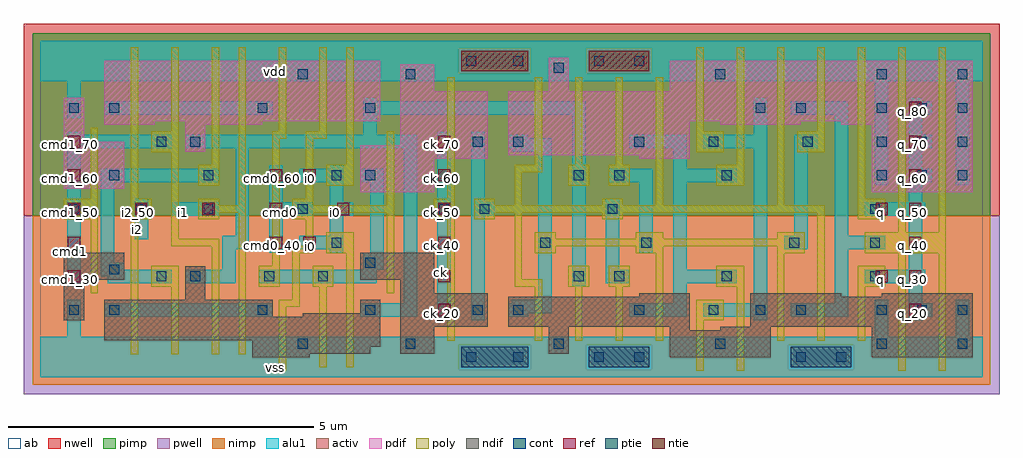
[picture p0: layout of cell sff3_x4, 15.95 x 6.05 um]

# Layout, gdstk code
import gdstk
lib = gdstk.Library(unit=1e-6, precision=2.5e-09)
def R(c, l, rs):  # rectangles x0, y0, x1, y1
    for r in rs: c.add(gdstk.rectangle(r[:2], r[2:], *l))
def A(c, l, x, y, w, h, nx, ny, dx, dy):  # array of equal rectangles
    R(c, l, [(x+i*dx, y+j*dy, x+i*dx+w, y+j*dy+h) for i in range(nx) for j in range(ny)])
ndif = (3, 0)
pdif = (4, 0)
ntie = (5, 0)
ptie = (6, 0)
ref = (24, 0)
cont = (25, 0)
pwell = (41, 0)
nwell = (42, 0)
activ = (43, 0)
pimp = (44, 0)
nimp = (45, 0)
poly = (46, 0)
alu1 = (49, 0)
ab = (63, 0)

sff3_x4 = lib.new_cell('sff3_x4')
R(sff3_x4, ndif, [(3.465,0.33,4.4,0.385), (10.285,0.33,11.935,0.77), (13.585,0.33,15.235,0.825), (3.465,0.385,5.39,0.495), (5.885,0.385,6.435,0.825), (8.305,0.385,8.635,0.825), (3.465,0.495,5.555,0.605), (1.045,0.605,5.555,0.99), (10.285,0.77,10.615,0.825), (11.11,0.77,11.935,0.825), (5.885,0.825,7.315,1.375), (7.645,0.825,10.615,1.32), (11.605,0.825,15.235,1.32), (0.385,0.935,0.715,1.595), (1.045,0.99,3.795,1.265), (4.29,0.99,5.555,1.045), (5.225,1.045,5.555,1.265), (2.365,1.265,2.695,1.815), (9.79,1.32,10.615,1.375), (11.605,1.32,13.09,1.375), (13.75,1.32,15.235,1.375), (5.885,1.375,6.435,1.595), (0.385,1.595,1.375,2.035), (5.225,1.595,6.435,2.035)])
R(sff3_x4, pdif, [(5.225,3.025,6.435,3.575), (13.585,3.025,15.235,4.125), (0.385,3.08,1.375,3.85), (5.225,3.575,7.315,3.795), (9.79,3.575,10.615,3.63), (7.645,3.63,10.615,4.18), (2.365,3.685,2.695,4.125), (5.885,3.795,7.315,4.675), (0.385,3.85,0.715,4.565), (1.045,4.125,1.87,4.18), (2.365,4.125,3.63,4.18), (11.11,4.125,12.43,4.18), (13.09,4.125,15.235,4.18), (1.045,4.18,5.555,5.17), (7.645,4.18,15.235,4.675), (5.885,4.675,6.435,5.115), (8.305,4.675,8.635,5.225), (10.285,4.675,15.235,5.17)])
R(sff3_x4, ntie, [(6.875,5.005,7.975,5.335), (8.965,5.005,9.955,5.335)])
R(sff3_x4, ptie, [(6.875,0.165,7.975,0.495), (8.965,0.165,9.955,0.495), (12.265,0.165,13.255,0.495)])
A(sff3_x4, ref, 6.5, 1, 0.2, 0.2, 1, 6, 0, 0.55)
A(sff3_x4, ref, 14.2, 1, 0.2, 0.2, 1, 7, 0, 0.55)
A(sff3_x4, ref, 0.45, 2.65, 0.2, 0.2, 5, 1, 1.1, 0)
R(sff3_x4, ref, [(0.45,1.55,0.65,1.75), (13.65,1.55,13.85,1.75), (0.45,2.1,0.65,2.3), (3.75,2.1,3.95,2.3), (4.3,2.1,4.5,2.3), (13.65,2.65,13.85,2.85), (0.45,3.2,0.65,3.4), (3.75,3.2,3.95,3.4), (4.3,3.2,4.5,3.4), (0.45,3.75,0.65,3.95)])
A(sff3_x4, cont, 4.21, 0.47, 0.16, 0.16, 1, 3, 0, 2.2)
A(sff3_x4, cont, 8.39, 0.47, 0.16, 0.16, 3, 1, 2.64, 0)
A(sff3_x4, cont, 3.55, 1.02, 0.16, 0.16, 3, 1, 1.76, 0)
A(sff3_x4, cont, 13.67, 1.02, 0.16, 0.16, 3, 2, 0.66, 2.2)
A(sff3_x4, cont, 13.56, 1.57, 0.16, 0.16, 1, 3, 0, 0.55)
A(sff3_x4, cont, 0.47, 2.67, 0.16, 0.16, 3, 1, 1.1, 0)
A(sff3_x4, cont, 13.67, 3.77, 0.16, 0.16, 3, 2, 0.66, 0.55)
R(sff3_x4, cont, [(6.96,0.25,7.12,0.41), (7.73,0.25,7.89,0.41), (9.05,0.25,9.21,0.41), (9.71,0.25,9.87,0.41), (12.35,0.25,12.51,0.41), (13.01,0.25,13.17,0.41), (5.97,0.47,6.13,0.63), (14.99,0.47,15.15,0.63), (0.47,1.02,0.63,1.18), (1.13,1.02,1.29,1.18), (7.73,1.02,7.89,1.18), (9.71,1.02,9.87,1.18), (10.92,1.02,11.08,1.18), (11.69,1.02,11.85,1.18), (12.35,1.02,12.51,1.18), (1.9,1.57,2.06,1.73), (2.45,1.57,2.61,1.73), (3.66,1.57,3.82,1.73), (4.54,1.57,4.7,1.73), (8.72,1.57,8.88,1.73), (9.38,1.57,9.54,1.73), (11.14,1.57,11.3,1.73), (1.13,1.68,1.29,1.84), (5.31,1.79,5.47,1.95), (4.76,2.12,4.92,2.28), (8.17,2.12,8.33,2.28), (9.82,2.12,9.98,2.28), (12.24,2.12,12.4,2.28), (6.52,2.67,6.68,2.83), (7.18,2.67,7.34,2.83), (9.27,2.67,9.43,2.83), (1.13,3.22,1.29,3.38), (2.67,3.22,2.83,3.38), (4.76,3.22,4.92,3.38), (5.31,3.22,5.47,3.38), (8.72,3.22,8.88,3.38), (9.38,3.22,9.54,3.38), (11.14,3.22,11.3,3.38), (1.9,3.77,2.06,3.93), (2.45,3.77,2.61,3.93), (7.07,3.77,7.23,3.93), (7.73,3.77,7.89,3.93), (9.71,3.77,9.87,3.93), (10.92,3.77,11.08,3.93), (12.46,3.77,12.62,3.93), (0.47,4.32,0.63,4.48), (1.13,4.32,1.29,4.48), (3.55,4.32,3.71,4.48), (5.31,4.32,5.47,4.48), (11.69,4.32,11.85,4.48), (12.35,4.32,12.51,4.48), (5.97,4.87,6.13,5.03), (11.03,4.87,11.19,5.03), (13.67,4.87,13.83,5.03), (14.99,4.87,15.15,5.03), (8.39,4.98,8.55,5.14), (6.96,5.09,7.12,5.25), (7.73,5.09,7.89,5.25), (9.05,5.09,9.21,5.25), (9.71,5.09,9.87,5.25)])
R(sff3_x4, pwell, [(-0.275,-0.275,15.675,2.64)])
R(sff3_x4, nwell, [(-0.275,2.64,15.675,5.775)])
R(sff3_x4, activ, [(6.875,0.165,7.975,0.495), (8.965,0.165,9.955,0.495), (12.265,0.165,13.255,0.495), (3.465,0.33,4.4,0.385), (10.285,0.33,11.935,0.77), (13.585,0.33,15.235,0.825), (3.465,0.385,5.39,0.495), (5.885,0.385,6.435,0.825), (8.305,0.385,8.635,0.825), (3.465,0.495,5.555,0.605), (1.045,0.605,5.555,0.99), (10.285,0.77,10.615,0.825), (11.11,0.77,11.935,0.825), (5.885,0.825,7.315,1.375), (7.645,0.825,10.615,1.32), (11.605,0.825,15.235,1.32), (0.385,0.935,0.715,1.595), (1.045,0.99,3.795,1.265), (4.29,0.99,5.555,1.045), (5.225,1.045,5.555,1.265), (2.365,1.265,2.695,1.815), (9.79,1.32,10.615,1.375), (11.605,1.32,13.09,1.375), (13.75,1.32,15.235,1.375), (5.885,1.375,6.435,1.595), (0.385,1.595,1.375,2.035), (5.225,1.595,6.435,2.035), (5.225,3.025,6.435,3.575), (13.585,3.025,15.235,4.125), (0.385,3.08,1.375,3.85), (5.225,3.575,7.315,3.795), (9.79,3.575,10.615,3.63), (7.645,3.63,10.615,4.18), (2.365,3.685,2.695,4.125), (5.885,3.795,7.315,4.675), (0.385,3.85,0.715,4.565), (1.045,4.125,1.87,4.18), (2.365,4.125,3.63,4.18), (11.11,4.125,12.43,4.18), (13.09,4.125,15.235,4.18), (1.045,4.18,5.555,5.17), (7.645,4.18,15.235,4.675), (5.885,4.675,6.435,5.115), (8.305,4.675,8.635,5.225), (10.285,4.675,15.235,5.17), (6.875,5.005,7.975,5.335), (8.965,5.005,9.955,5.335)])
R(sff3_x4, pimp, [(6.835,0.125,8.015,0.535), (8.925,0.125,9.995,0.535), (12.225,0.125,13.295,0.535), (-0.125,2.64,15.525,4.965), (-0.125,4.965,6.835,5.375), (8.015,4.965,8.925,5.375), (9.995,4.965,15.525,5.375), (-0.125,5.375,15.525,5.625)])
R(sff3_x4, nimp, [(-0.125,-0.125,15.525,0.125), (-0.125,0.125,6.835,0.535), (8.015,0.125,8.925,0.535), (9.995,0.125,12.225,0.535), (13.295,0.125,15.525,0.535), (-0.125,0.535,15.525,2.64), (6.835,4.965,8.015,5.375), (8.925,4.965,9.995,5.375)])
A(sff3_x4, poly, 8.08, 0.6, 0.12, 0.88, 3, 1, 0.66, 0)
A(sff3_x4, poly, 8.08, 3.47, 0.12, 1.43, 3, 1, 0.66, 0)
R(sff3_x4, poly, [(3.9,0.105,4.02,1.15), (10.72,0.105,10.84,0.93), (11.38,0.105,11.5,1.48), (14.02,0.105,14.14,2.03), (14.68,0.105,14.8,2.03), (4.56,0.16,4.68,1.48), (5,0.16,5.12,2.03), (1.48,0.38,1.6,2.58), (2.14,0.38,2.26,1.48), (2.8,0.38,2.92,2.14), (3.24,0.38,3.36,2.69), (6.65,0.6,6.77,2.58), (10.06,0.6,10.18,2.03), (12.04,0.6,12.16,2.03), (12.7,0.6,12.82,2.69), (13.36,0.6,13.48,1.48), (10.72,0.93,11.17,1.27), (3.9,1.15,4.24,1.27), (4.12,1.27,4.24,2.03), (0.82,1.37,0.94,2.58), (5.66,1.37,5.78,2.69), (1.81,1.48,2.26,1.82), (3.57,1.48,3.91,1.82), (4.45,1.48,4.79,1.82), (7.75,1.48,8.2,1.6), (8.63,1.48,8.97,1.82), (9.29,1.48,9.63,1.82), (11.05,1.48,11.5,1.82), (13.36,1.48,13.81,1.82), (7.75,1.6,7.87,2.69), (3.79,1.82,3.91,3.9), (4.12,2.03,4.46,2.15), (4.67,2.03,5.12,2.37), (8.08,2.03,8.42,2.14), (9.73,2.03,10.18,2.14), (12.04,2.03,12.49,2.14), (13.47,2.03,14.8,2.37), (2.14,2.14,2.92,2.26), (8.08,2.14,12.49,2.26), (4.34,2.15,4.46,2.58), (2.14,2.26,2.26,3.68), (8.08,2.26,8.42,2.37), (9.73,2.26,10.18,2.37), (12.04,2.26,12.49,2.37), (14.02,2.37,14.14,5.395), (14.68,2.37,14.8,5.395), (0.38,2.58,0.94,2.92), (1.48,2.58,1.82,2.92), (2.58,2.58,2.92,2.69), (4.12,2.58,4.46,2.69), (6.43,2.58,6.77,2.92), (7.09,2.58,7.43,2.69), (9.18,2.58,9.52,2.69), (13.36,2.58,13.81,2.92), (2.58,2.69,3.36,2.81), (4.12,2.69,5.78,2.81), (7.09,2.69,12.82,2.81), (2.58,2.81,2.92,2.92), (3.24,2.81,3.36,5.395), (4.12,2.81,4.46,2.92), (5.66,2.81,5.78,4.02), (7.09,2.81,7.43,2.92), (7.75,2.81,7.87,3.35), (9.18,2.81,9.52,2.92), (10.06,2.81,10.18,4.9), (12.04,2.81,12.16,5.395), (0.82,2.92,0.94,4.075), (1.48,2.92,1.6,5.395), (4.34,2.92,4.46,3.9), (6.65,2.92,6.77,4.9), (13.36,2.92,13.48,5.395), (2.58,3.13,2.92,3.47), (4.67,3.13,5.12,3.47), (8.63,3.13,8.97,3.47), (9.29,3.13,9.63,3.47), (11.05,3.13,11.5,3.47), (7.75,3.35,8.2,3.47), (2.8,3.47,2.92,5.395), (5,3.47,5.12,5.395), (11.38,3.47,11.5,5.395), (1.81,3.68,2.26,4.02), (10.72,3.68,11.17,4.02), (12.37,3.68,12.82,4.02), (3.79,3.9,4.02,4.02), (4.34,3.9,4.68,4.02), (2.14,4.02,2.26,5.395), (3.9,4.02,4.02,5.395), (4.56,4.02,4.68,5.395), (10.72,4.02,10.84,5.395), (12.7,4.02,12.82,5.395)])
A(sff3_x4, alu1, 14.19, 2.86, 0.22, 0.33, 1, 3, 0, 0.55)
A(sff3_x4, alu1, 14.19, 3.19, 0.385, 0.22, 1, 3, 0, 0.55)
R(sff3_x4, alu1, [(0,0,15.4,0.66), (0.44,0.66,0.66,1.265), (13.64,0.66,13.86,1.265), (14.96,0.66,15.18,1.265), (6.49,0.935,6.71,4.015), (7.04,0.935,7.26,2.64), (11.66,0.935,11.88,0.99), (14.19,0.935,14.41,0.99), (1.045,0.99,3.795,1.21), (5.225,0.99,6.16,1.21), (7.645,0.99,7.975,1.045), (9.625,0.99,10.56,1.21), (10.835,0.99,11.88,1.21), (12.265,0.99,13.2,1.21), (14.19,0.99,14.575,1.21), (7.645,1.045,8.36,1.21), (5.94,1.21,6.16,3.74), (7.7,1.21,8.36,1.265), (10.34,1.21,10.56,1.54), (11.66,1.21,11.88,3.74), (12.98,1.21,13.2,2.09), (14.19,1.21,14.41,1.54), (8.14,1.265,8.36,3.685), (0.44,1.485,0.66,3.74), (8.69,1.485,8.91,4.29), (1.1,1.54,2.145,1.65), (2.365,1.54,3.19,1.76), (3.575,1.54,5.5,1.76), (9.24,1.54,9.625,1.76), (10.34,1.54,11.385,1.76), (13.475,1.54,14.465,1.76), (0.99,1.65,2.145,1.76), (0.99,1.76,1.375,1.87), (2.97,1.76,3.19,2.09), (5.28,1.76,5.61,2.035), (9.24,1.76,9.46,2.915), (10.34,1.76,10.56,3.19), (14.19,1.76,14.41,2.64), (0.99,1.87,1.21,3.19), (3.74,2.035,3.96,2.64), (4.73,2.035,4.95,2.09), (5.39,2.035,5.61,3.19), (9.79,2.035,10.01,3.19), (2.97,2.09,3.41,2.31), (4.235,2.09,4.95,2.31), (12.155,2.09,12.54,2.31), (12.98,2.09,13.805,2.31), (1.54,2.255,1.76,2.915), (3.19,2.31,3.41,3.74), (4.73,2.31,4.95,2.64), (12.32,2.31,12.54,3.74), (12.98,2.31,13.2,4.29), (2.145,2.64,2.915,2.86), (3.74,2.64,4.455,2.86), (4.73,2.64,5.115,2.86), (7.04,2.64,7.425,2.86), (13.475,2.64,14.465,2.86), (3.74,2.86,3.96,3.465), (4.73,2.86,4.95,3.19), (7.04,2.86,7.26,4.015), (13.64,3.135,13.86,4.84), (14.96,3.135,15.18,4.84), (0.99,3.19,2.915,3.41), (4.235,3.19,4.95,3.41), (5.225,3.19,5.61,3.41), (9.295,3.19,10.01,3.41), (10.34,3.19,11.385,3.41), (4.73,3.41,4.95,3.465), (10.34,3.41,10.56,3.74), (7.7,3.685,8.36,3.74), (0.44,3.74,2.145,3.96), (2.365,3.74,6.16,3.96), (7.645,3.74,8.36,3.905), (9.625,3.74,10.56,3.96), (10.835,3.74,11.88,3.96), (12.32,3.74,12.705,3.96), (7.645,3.905,7.975,3.96), (0.44,3.96,0.66,4.015), (5.28,3.96,5.5,4.29), (11.66,3.96,11.88,4.565), (0.44,4.235,0.66,4.84), (1.045,4.29,3.795,4.51), (5.28,4.29,8.91,4.51), (12.265,4.29,13.2,4.51), (5.28,4.51,5.5,4.565), (14.19,4.51,14.41,4.565), (0,4.84,15.4,5.5)])
R(sff3_x4, ab, [(0,0,15.4,5.5)])
sff3_x4.add(gdstk.Label('vss', (3.85,0.165), layer=49, texttype=0))
sff3_x4.add(gdstk.Label('q', (13.7225,1.595), layer=49, texttype=0))
sff3_x4.add(gdstk.Label('q', (13.7225,2.695), layer=49, texttype=0))
sff3_x4.add(gdstk.Label('ck', (6.545,1.705), layer=49, texttype=0))
sff3_x4.add(gdstk.Label('i0', (4.4125,2.145), layer=49, texttype=0))
sff3_x4.add(gdstk.Label('i0', (4.825,2.695), layer=49, texttype=0))
sff3_x4.add(gdstk.Label('cmd0', (3.9175,2.695), layer=49, texttype=0))
sff3_x4.add(gdstk.Label('i0', (4.4125,3.245), layer=49, texttype=0))
sff3_x4.add(gdstk.Label('i1', (2.3375,2.695), layer=49, texttype=0))
sff3_x4.add(gdstk.Label('i2', (1.595,2.42), layer=49, texttype=0))
sff3_x4.add(gdstk.Label('cmd1', (0.495,2.0475), layer=49, texttype=0))
sff3_x4.add(gdstk.Label('vdd', (3.85,5.005), layer=49, texttype=0))
sff3_x4.add(gdstk.Label('q_30', (13.7,1.6), layer=24, texttype=0))
sff3_x4.add(gdstk.Label('q_50', (13.7,2.7), layer=24, texttype=0))
sff3_x4.add(gdstk.Label('ck_20', (6.55,1.05), layer=24, texttype=0))
sff3_x4.add(gdstk.Label('ck_70', (6.55,3.8), layer=24, texttype=0))
sff3_x4.add(gdstk.Label('ck_60', (6.55,3.25), layer=24, texttype=0))
sff3_x4.add(gdstk.Label('ck_50', (6.55,2.7), layer=24, texttype=0))
sff3_x4.add(gdstk.Label('ck_30', (6.55,1.6), layer=24, texttype=0))
sff3_x4.add(gdstk.Label('ck_40', (6.55,2.15), layer=24, texttype=0))
sff3_x4.add(gdstk.Label('q_20', (14.25,1.05), layer=24, texttype=0))
sff3_x4.add(gdstk.Label('q_60', (14.25,3.25), layer=24, texttype=0))
sff3_x4.add(gdstk.Label('q_50', (14.25,2.7), layer=24, texttype=0))
sff3_x4.add(gdstk.Label('q_30', (14.25,1.6), layer=24, texttype=0))
sff3_x4.add(gdstk.Label('q_40', (14.25,2.15), layer=24, texttype=0))
sff3_x4.add(gdstk.Label('q_80', (14.25,4.35), layer=24, texttype=0))
sff3_x4.add(gdstk.Label('q_70', (14.25,3.8), layer=24, texttype=0))
sff3_x4.add(gdstk.Label('cmd1_30', (0.5,1.6), layer=24, texttype=0))
sff3_x4.add(gdstk.Label('cmd1_40', (0.5,2.15), layer=24, texttype=0))
sff3_x4.add(gdstk.Label('cmd1_50', (0.5,2.7), layer=24, texttype=0))
sff3_x4.add(gdstk.Label('cmd1_60', (0.5,3.25), layer=24, texttype=0))
sff3_x4.add(gdstk.Label('cmd1_70', (0.5,3.8), layer=24, texttype=0))
sff3_x4.add(gdstk.Label('i2_50', (1.6,2.7), layer=24, texttype=0))
sff3_x4.add(gdstk.Label('i1_50', (2.7,2.7), layer=24, texttype=0))
sff3_x4.add(gdstk.Label('cmd0_40', (3.8,2.15), layer=24, texttype=0))
sff3_x4.add(gdstk.Label('cmd0_50', (3.8,2.7), layer=24, texttype=0))
sff3_x4.add(gdstk.Label('cmd0_60', (3.8,3.25), layer=24, texttype=0))
sff3_x4.add(gdstk.Label('i0_40', (4.35,2.15), layer=24, texttype=0))
sff3_x4.add(gdstk.Label('i0_60', (4.35,3.25), layer=24, texttype=0))
sff3_x4.add(gdstk.Label('i0_50', (4.9,2.7), layer=24, texttype=0))

lib.write_gds('sff3_x4.gds')
